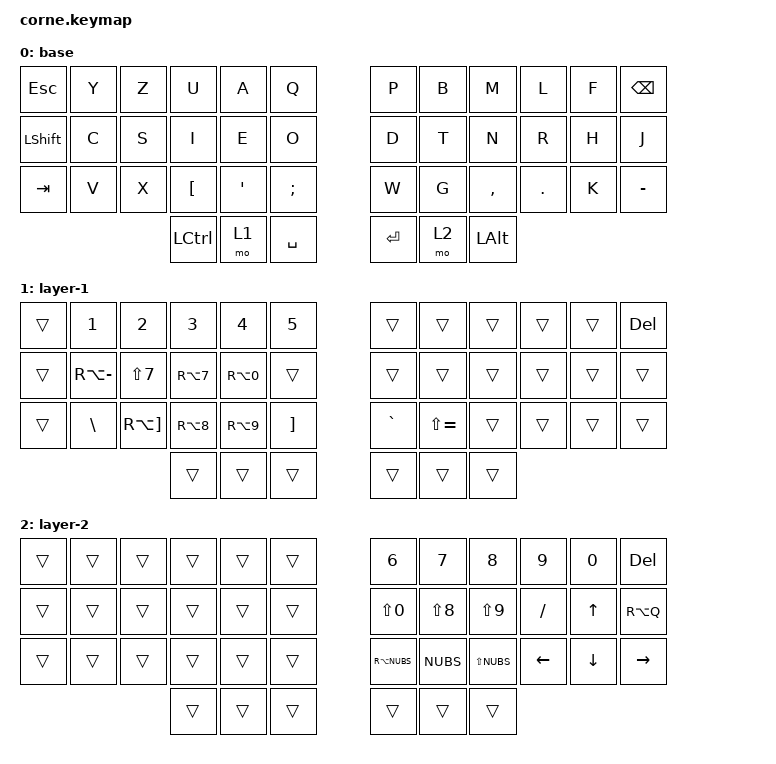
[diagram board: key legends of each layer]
#include <behaviors.dtsi>
#include <dt-bindings/zmk/bt.h>
#include <dt-bindings/zmk/keys.h>

/ {
    combos {
        compatible = "zmk,combos";

        Super {
            bindings = <&kp LGUI>;
            key-positions = <24 38>;
        };

        L_BT_CLR {
            bindings = <&bt BT_CLR>;
            key-positions = <0 36 37>;
        };

        R_BT_CLR {
            bindings = <&bt BT_CLR>;
            key-positions = <40 41 11>;
        };
    };

    keymap {
        compatible = "zmk,keymap";

        base {
            bindings = <
&kp ESC         &kp Y  &kp Z  &kp U             &kp A    &kp Q        &kp P      &kp B  &kp M         &kp L    &kp F  &kp BSPC
&kp LEFT_SHIFT  &kp C  &kp S  &kp I             &kp E    &kp O        &kp D      &kp T  &kp N         &kp R    &kp H  &kp J
&kp TAB         &kp V  &kp X  &kp LBKT          &kp SQT  &kp SEMI     &kp W      &kp G  &kp COMMA     &kp DOT  &kp K  &kp MINUS
                              &kp LEFT_CONTROL  &mo 1    &kp SPACE    &kp ENTER  &mo 2  &kp LEFT_ALT
            >;
        };

        layer-1 {
            bindings = <
&trans  &kp NUMBER_1   &kp NUMBER_2           &kp NUMBER_3  &kp NUMBER_4  &kp NUMBER_5    &trans     &trans         &trans  &trans  &trans  &kp DELETE
&trans  &kp RA(MINUS)  &kp LS(NUMBER_7)       &kp RA(N7)    &kp RA(N0)    &trans          &trans     &trans         &trans  &trans  &trans  &trans
&trans  &kp BSLH       &kp RA(RIGHT_BRACKET)  &kp RA(N8)    &kp RA(N9)    &kp RBKT        &kp GRAVE  &kp LS(EQUAL)  &trans  &trans  &trans  &trans
                                              &trans        &trans        &trans          &trans     &trans         &trans
            >;
        };

        layer-2 {
            bindings = <
&trans  &trans  &trans  &trans  &trans  &trans    &kp NUMBER_6      &kp N7            &kp N8            &kp N9     &kp NUMBER_0  &kp DELETE
&trans  &trans  &trans  &trans  &trans  &trans    &kp LS(NUMBER_0)  &kp LS(NUMBER_8)  &kp LS(NUMBER_9)  &kp SLASH  &kp UP        &kp RA(Q)
&trans  &trans  &trans  &trans  &trans  &trans    &kp RA(NUBS)      &kp NUBS          &kp LS(NUBS)      &kp LEFT   &kp DOWN      &kp RIGHT
                        &trans  &trans  &trans    &trans            &trans            &trans
            >;
        };
    };
};
